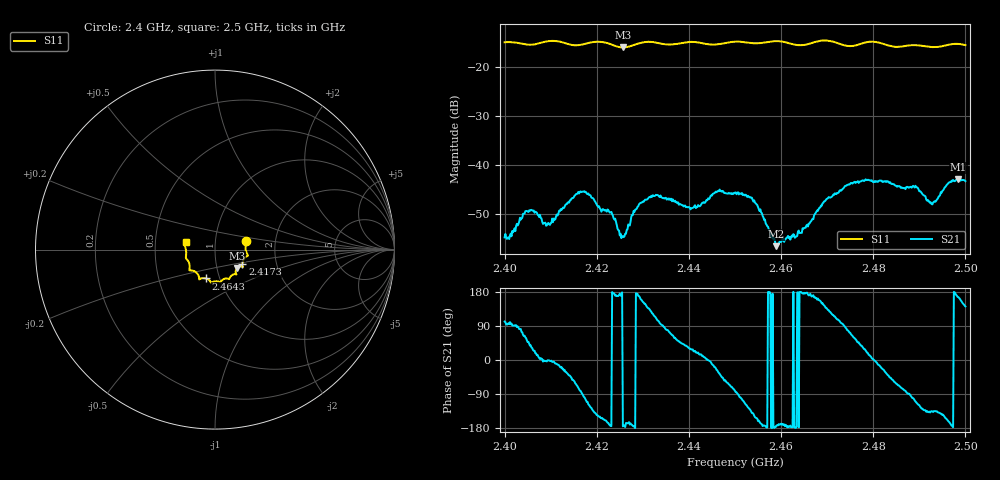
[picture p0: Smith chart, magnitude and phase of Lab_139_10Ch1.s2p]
# Hz S RI R 50
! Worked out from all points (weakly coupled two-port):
!   601 points, 2.4 GHz to 2.5 GHz, reference 50 ohm
!   highest |S21| = -42.95 dB at 2.4985 GHz (marker M1); lowest = -56.7 dB at 2.4588 GHz (marker M2)
!   lowest |S11| = -15.9 dB at 2.4257 GHz (marker M3), VSWR 1.38, Z = 62.4 - j13.1 ohm
!   |S11| at or under -10 dB: start of sweep to end of sweep
!   S12 and S22 are empty: the file has one direction only
!   S11 on the Smith chart (normalised r, x): 2.4 GHz: 1.41, +0.15; 2.4173 GHz: 1.34, -0.23; 2.4643 GHz: 0.86, -0.28; 2.5 GHz: 0.72, +0.06
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2.4e9  0.1734 0.0498  -0.000357 0.00176  0 0  0 0
2.405e9  0.1701 0.0132  0.00226 0.00244  0 0  0 0
2.409667e9  0.1829 -0.0316  0.00245 -4.69e-05  0 0  0 0
2.416667e9  0.1532 -0.0747  0.00037 -0.00523  0 0  0 0
2.417333e9  0.1526 -0.0821  -0.000782 -0.0053  0 0  0 0
2.422833e9  0.1463 -0.0937  -0.0032 -0.000459  0 0  0 0
2.425667e9  0.1223 -0.1024  -0.00185 -0.000162  0 0  0 0
2.429333e9  0.1166 -0.1332  -0.00389 0.00098  0 0  0 0
2.433333e9  0.1128 -0.1368  -0.00114 0.00472  0 0  0 0
2.4405e9  0.079 -0.1641  0.00318 0.00166  0 0  0 0
2.446167e9  0.0461 -0.1656  0.00473 -0.00245  0 0  0 0
2.45e9  0.0297 -0.1809  0.000764 -0.00512  0 0  0 0
2.454167e9  0.00854 -0.1761  -0.00362 -0.00234  0 0  0 0
2.458833e9  -0.0209 -0.1842  -0.00146 -7.93e-05  0 0  0 0
2.464333e9  -0.0502 -0.1608  -0.002 1.52e-05  0 0  0 0
2.466667e9  -0.0764 -0.1602  -0.00265 0.000592  0 0  0 0
2.474333e9  -0.1001 -0.1321  0.00119 0.0061  0 0  0 0
2.483333e9  -0.1412 -0.0895  0.00499 -0.00437  0 0  0 0
2.489167e9  -0.1623 -0.045  -0.00203 -0.00574  0 0  0 0
2.492667e9  -0.1602 -0.0176  -0.0028 -0.00278  0 0  0 0
2.4985e9  -0.1703 0.034  -0.0069 0.00176  0 0  0 0
2.5e9  -0.1635 0.042  -0.00531 0.00425  0 0  0 0
